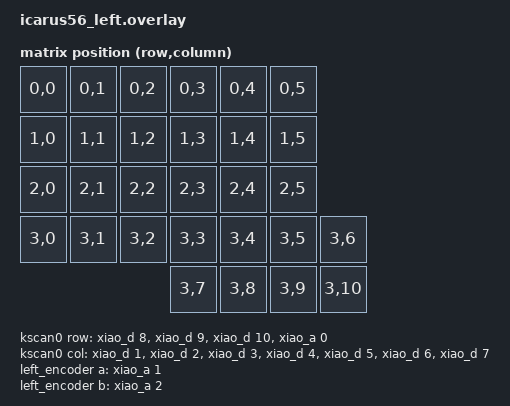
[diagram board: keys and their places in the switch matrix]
/*
 * Icarus56 — Left Half Shield Overlay
 * Seeed XIAO nRF52840
 */

#include <dt-bindings/zmk/matrix_transform.h>

/ {
    chosen {
        zmk,kscan = &kscan0;
        zmk,matrix_transform = &default_transform;
    };

    default_transform: keymap_transform_0 {
        compatible = "zmk,matrix-transform";
        columns = <7>;
        rows = <4>;

        // Map: RC(row, col)
        // Left half: 28 keys (6 cols x 4 rows + 2 thumb keys)
        map = <
            RC(0,0) RC(0,1) RC(0,2) RC(0,3) RC(0,4) RC(0,5)
            RC(1,0) RC(1,1) RC(1,2) RC(1,3) RC(1,4) RC(1,5)
            RC(2,0) RC(2,1) RC(2,2) RC(2,3) RC(2,4) RC(2,5)
            RC(3,0) RC(3,1) RC(3,2) RC(3,3) RC(3,4) RC(3,5) RC(3,6)
                                    RC(3,7) RC(3,8) RC(3,9) RC(3,10)
        >;
    };

    kscan0: kscan {
        compatible = "zmk,kscan-gpio-matrix";
        label = "KSCAN";
        diode-direction = "col2row";

        col-gpios
            = <&xiao_d 1 GPIO_ACTIVE_HIGH>
            , <&xiao_d 2 GPIO_ACTIVE_HIGH>
            , <&xiao_d 3 GPIO_ACTIVE_HIGH>
            , <&xiao_d 4 GPIO_ACTIVE_HIGH>
            , <&xiao_d 5 GPIO_ACTIVE_HIGH>
            , <&xiao_d 6 GPIO_ACTIVE_HIGH>
            , <&xiao_d 7 GPIO_ACTIVE_HIGH>
            ;

        row-gpios
            = <&xiao_d 8  (GPIO_ACTIVE_HIGH | GPIO_PULL_DOWN)>
            , <&xiao_d 9  (GPIO_ACTIVE_HIGH | GPIO_PULL_DOWN)>
            , <&xiao_d 10 (GPIO_ACTIVE_HIGH | GPIO_PULL_DOWN)>
            , <&xiao_a 0  (GPIO_ACTIVE_HIGH | GPIO_PULL_DOWN)>
            ;
    };

    left_encoder: encoder_left {
        compatible = "alps,ec11";
        label = "LEFT_ENCODER";
        
        a-gpios = <&xiao_a 1 (GPIO_ACTIVE_HIGH | GPIO_PULL_UP)>;
        b-gpios = <&xiao_a 2 (GPIO_ACTIVE_HIGH | GPIO_PULL_UP)>;
        steps = <80>;
        status = "okay";
    };

    sensors {
        compatible = "zmk,keymap-sensors";
        sensors = <&left_encoder>;
        triggers-per-rotation = <20>;
    };
};
